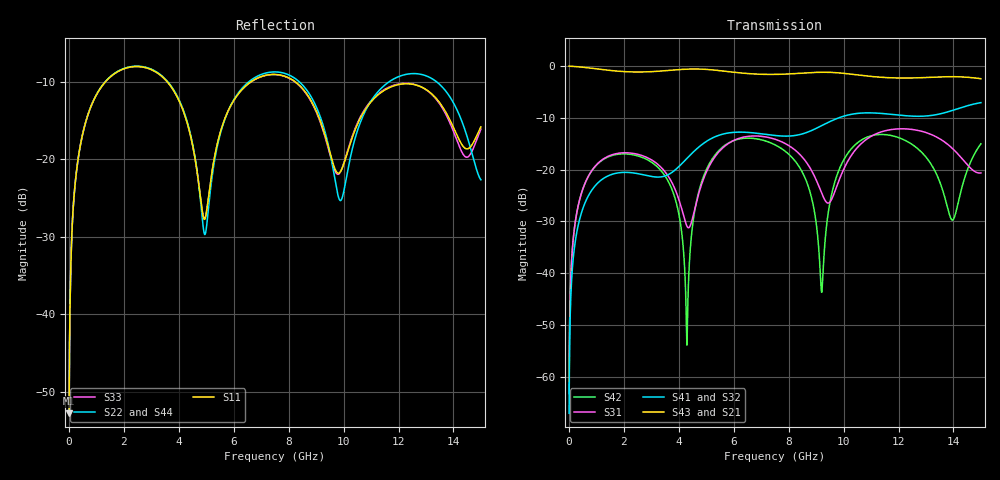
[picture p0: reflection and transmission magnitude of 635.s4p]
! Created with skrf 1.8.0 (http://scikit-rf.org).
# GHz S RI R 50.0
!freq ReS11 ImS11 ReS12 ImS12 ReS13 ImS13
! ReS14 ImS14
! ReS21 ImS21 ReS22 ImS22 ReS23 ImS23
! ReS24 ImS24
! ReS31 ImS31 ReS32 ImS32 ReS33 ImS33
! ReS34 ImS34
! ReS41 ImS41 ReS42 ImS42 ReS43 ImS43
! ReS44 ImS44
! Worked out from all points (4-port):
!   2499 points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, 5 MHz to 15 GHz, reference 50 ohm
!   strongest paths, dB at 5 MHz, 3.476 GHz, 7.19 GHz, 11.1 GHz, 15 GHz:
!     S43: 0.0, -0.9, -1.6, -2.0, -2.4
!     S21: 0.0, -0.9, -1.6, -2.0, -2.4
!     S41: -67.1, -21.3, -13.2, -9.1, -7.1
!     S32: -67.1, -21.3, -13.3, -9.1, -7.1
!     S31: -63.3, -20.3, -13.7, -13.3, -20.6
!     S42: -63.3, -21.1, -14.5, -13.4, -15.0
!   lowest |S11| = -52.8 dB at 5 MHz (marker M1), VSWR 1.00, Z = 50.2 + j0.139 ohm
!   |S11| at or under -10 dB: start of sweep to 1.325 GHz; 3.58 GHz to 6.624 GHz (3.044 GHz wide, 59.7 % of centre); 8.242 GHz to end of sweep
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0.005  0.00182 0.00139  0.9981 -0.00354  9.06e-05 0.000682  -8.82e-05 -0.000434
       0.9981 -0.00354  0.00182 0.00139  -8.82e-05 -0.000434  9.05e-05 0.000682
       9.06e-05 0.000682  -8.82e-05 -0.000434  0.00182 0.00139  0.9981 -0.00354
       -8.82e-05 -0.000434  9.05e-05 0.000682  0.9981 -0.00354  0.00182 0.00139
1.875782  0.3569 0.1185  0.3171 -0.8307  0.1441 0.0138  -0.0891 0.0289
          0.3171 -0.8307  0.3594 0.1153  -0.089 0.0286  0.1387 0.028
          0.1441 0.0138  -0.089 0.0286  0.357 0.1184  0.3171 -0.8307
          -0.0891 0.0289  0.1387 0.028  0.3171 -0.8307  0.3593 0.1154
4.293636  0.1 -0.1429  -0.8233 -0.4413  -0.0241 -0.0152  -0.0562 0.1152
          -0.8233 -0.4413  0.0935 -0.1506  -0.0574 0.1146  -0.00185 -0.000811
          -0.0241 -0.0152  -0.0574 0.1146  0.1001 -0.143  -0.8232 -0.4414
          -0.0562 0.1152  -0.00185 -0.000811  -0.8232 -0.4414  0.0935 -0.1508
5.527303  0.1019 0.1135  -0.851 0.2972  0.0878 0.1281  0.0991 0.1936
          -0.851 0.2972  0.0956 0.1153  0.0971 0.1942  0.0904 0.1313
          0.0878 0.1281  0.0971 0.1942  0.1024 0.1129  -0.8512 0.2969
          0.0991 0.1936  0.0904 0.1313  -0.8512 0.2969  0.0945 0.1145
9.197582  0.1262 -0.1103  0.7171 0.4947  -0.0427 -0.0418  0.1407 -0.2252
          0.7171 0.4947  0.1113 -0.139  0.146 -0.2216  -0.006 -0.00262
          -0.0427 -0.0418  0.146 -0.2216  0.1232 -0.1089  0.7178 0.4945
          0.1407 -0.2252  -0.006 -0.00262  0.7178 0.4945  0.1104 -0.1359
9.947895  0.0852 0.0198  0.85 0.085  -0.00102 0.0935  0.0169 -0.3243
          0.85 0.085  0.0558 0.00813  0.024 -0.3237  0.0228 0.1138
          -0.00102 0.0935  0.024 -0.3237  0.0847 0.0231  0.85 0.0846
          0.0169 -0.3243  0.0228 0.1138  0.85 0.0846  0.0552 0.01
15  0.1438 0.0748  -0.7486 -0.1023  -0.0574 0.0731  -0.0367 0.442
    -0.7486 -0.1023  0.0701 -0.0229  -0.0532 0.4407  0.0972 0.1485
    -0.0574 0.0731  -0.0532 0.4407  0.1327 0.083  -0.749 -0.1011
    -0.0367 0.442  0.0972 0.1485  -0.749 -0.1011  0.0758 -0.0168
